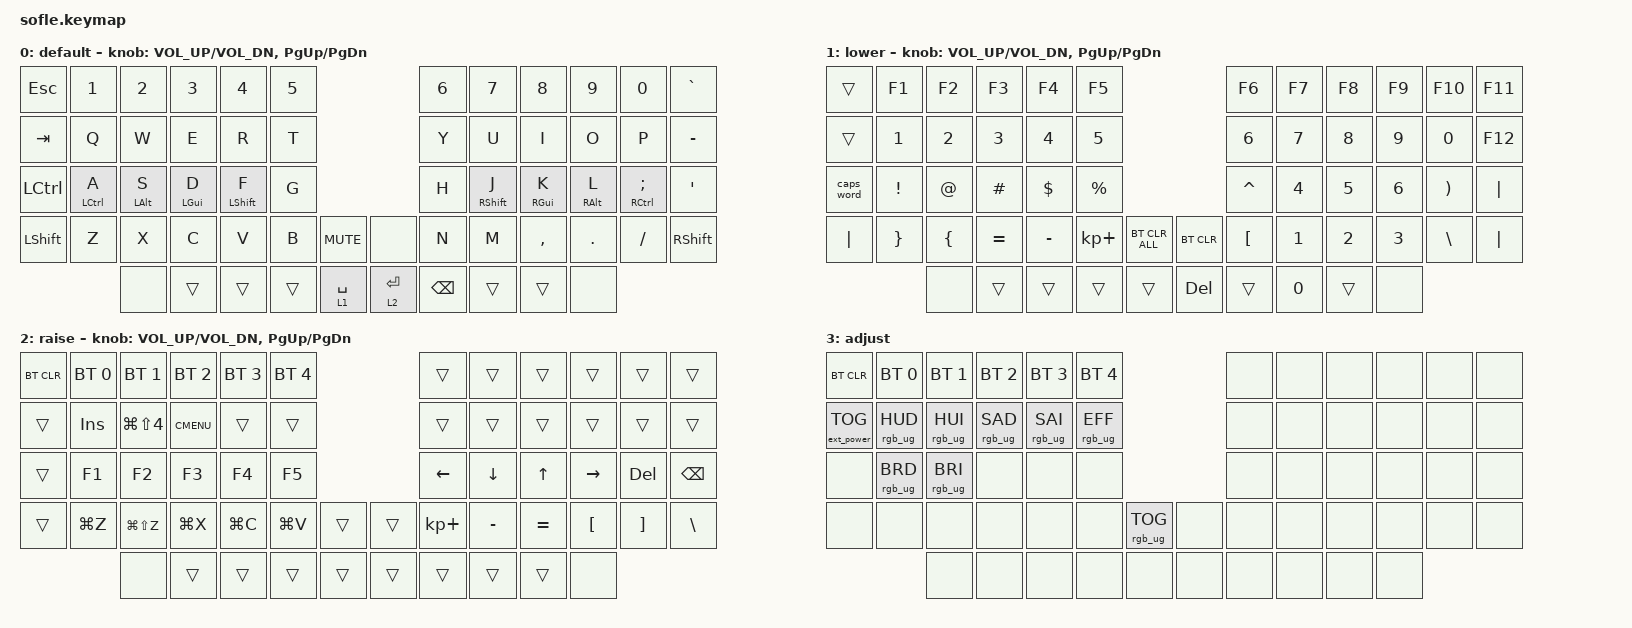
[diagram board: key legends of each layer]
/*
 * Copyright (c) 2020 The ZMK Contributors
 *
 * SPDX-License-Identifier: MIT
 */

#include <behaviors.dtsi>
#include <dt-bindings/zmk/bt.h>
#include <dt-bindings/zmk/ext_power.h>
#include <dt-bindings/zmk/keys.h>
#include <dt-bindings/zmk/rgb.h>

#define BASE 0
#define LOWER 1
#define RAISE 2
#define ADJUST 3

&mt {
    tapping-term-ms = <250>;
    quick-tap-ms = <150>;
    require-prior-idle-ms = <60>;
    flavor = "tap-preferred";
    retro-tap;
    hold-trigger-on-release;
};

/ {
    conditional_layers {
        compatible = "zmk,conditional-layers";

        adjust_layer {
            if-layers = <LOWER RAISE>;
            then-layer = <ADJUST>;
        };
    };

    combos {
        compatible = "zmk,combos";

        left-shift-mod-combo {
            bindings = <&kp LEFT_SHIFT>;
            key-positions = <28 27>;
        };

        right-shift-mod-combo {
            bindings = <&kp RIGHT_SHIFT>;
            key-positions = <31 32>;
        };

        right-cmd-mod-combo {
            bindings = <&kp RIGHT_GUI>;
            key-positions = <32 33>;
        };

        left-cmd-mod-combo {
            bindings = <&kp LEFT_GUI>;
            key-positions = <26 27>;
        };
    };

    keymap {
        compatible = "zmk,keymap";

        default_layer {
            label = "default";
            bindings = <
&kp ESC           &kp N1              &kp N2          &kp N3          &kp N4            &kp N5                              &kp N6         &kp N7             &kp N8           &kp N9           &kp N0               &kp GRAVE
&kp TAB           &kp Q               &kp W           &kp E           &kp R             &kp T                               &kp Y          &kp U              &kp I            &kp O            &kp P                &kp MINUS
&kp LEFT_CONTROL  &mt LEFT_CONTROL A  &mt LEFT_ALT S  &mt LEFT_GUI D  &mt LEFT_SHIFT F  &kp G                               &kp H          &mt RIGHT_SHIFT J  &mt RIGHT_GUI K  &mt RIGHT_ALT L  &mt RCTRL SEMICOLON  &kp SQT
&kp LSHFT         &kp Z               &kp X           &kp C           &kp V             &kp B   &kp C_MUTE     &none        &kp N          &kp M              &kp COMMA        &kp DOT          &kp FSLH             &kp RSHFT
                                      &none           &trans          &trans            &trans  &lt 1 SPACE    &lt 2 ENTER  &kp BACKSPACE  &trans             &trans           &none
            >;

            sensor-bindings = <&inc_dec_kp C_VOL_UP C_VOL_DN &inc_dec_kp PG_UP PG_DN>;
        };

        lower_layer {
            label = "lower";
            bindings = <
&trans      &kp F1    &kp F2    &kp F3     &kp F4    &kp F5                                       &kp F6     &kp F7        &kp F8        &kp F9        &kp F10   &kp F11
&trans      &kp N1    &kp N2    &kp N3     &kp N4    &kp N5                                       &kp N6     &kp N7        &kp N8        &kp N9        &kp N0    &kp F12
&caps_word  &kp EXCL  &kp AT    &kp HASH   &kp DLLR  &kp PRCNT                                    &kp CARET  &kp NUMBER_4  &kp N5        &kp NUMBER_6  &kp RPAR  &kp PIPE
&kp PIPE    &kp RBRC  &kp LBRC  &kp EQUAL  &kp MINUS &kp KP_PLUS  &bt BT_CLR_ALL    &bt BT_CLR   &kp LBKT   &kp NUMBER_1  &kp NUMBER_2  &kp NUMBER_3  &kp BSLH  &kp PIPE
                      &none     &trans     &trans    &trans       &trans            &kp DELETE    &trans     &kp NUMBER_0  &trans        &none
            >;

            sensor-bindings = <&inc_dec_kp C_VOL_UP C_VOL_DN &inc_dec_kp PG_UP PG_DN>;
        };

        raise_layer {
            label = "raise";
            bindings = <
&bt BT_CLR  &bt BT_SEL 0  &bt BT_SEL 1    &bt BT_SEL 2  &bt BT_SEL 3  &bt BT_SEL 4                    &trans       &trans          &trans        &trans           &trans   &trans
&trans      &kp INS       &kp LG(LS(N4))  &kp K_CMENU   &trans        &trans                          &trans       &trans          &trans        &trans           &trans   &trans
&trans      &kp F1        &kp F2          &kp F3        &kp F4        &kp F5                          &kp LEFT     &kp DOWN_ARROW  &kp UP_ARROW  &kp RIGHT_ARROW  &kp DEL  &kp BSPC
&trans      &kp LG(Z)     &kp LG(LS(Z))   &kp LG(X)     &kp LG(C)     &kp LG(V)   &trans    &trans  &kp KP_PLUS  &kp MINUS       &kp EQUAL     &kp LBKT         &kp RBKT &kp BSLH
                          &none           &trans        &trans        &trans       &trans    &trans  &trans       &trans          &trans        &none
            >;

            sensor-bindings = <&inc_dec_kp C_VOL_UP C_VOL_DN &inc_dec_kp PG_UP PG_DN>;
        };

        adjust_layer {
            label = "adjust";
            bindings = <
&bt BT_CLR         &bt BT_SEL 0     &bt BT_SEL 1     &bt BT_SEL 2     &bt BT_SEL 3     &bt BT_SEL 4                               &none  &none  &none  &none  &none  &none
&ext_power EP_TOG  &rgb_ug RGB_HUD  &rgb_ug RGB_HUI  &rgb_ug RGB_SAD  &rgb_ug RGB_SAI  &rgb_ug RGB_EFF                            &none  &none  &none  &none  &none  &none
&none              &rgb_ug RGB_BRD  &rgb_ug RGB_BRI  &none            &none            &none                                      &none  &none  &none  &none  &none  &none
&none              &none            &none            &none            &none            &none            &rgb_ug RGB_TOG    &none  &none  &none  &none  &none  &none  &none
                                    &none            &none            &none            &none            &none              &none  &none  &none  &none  &none
            >;
        };
    };
};
